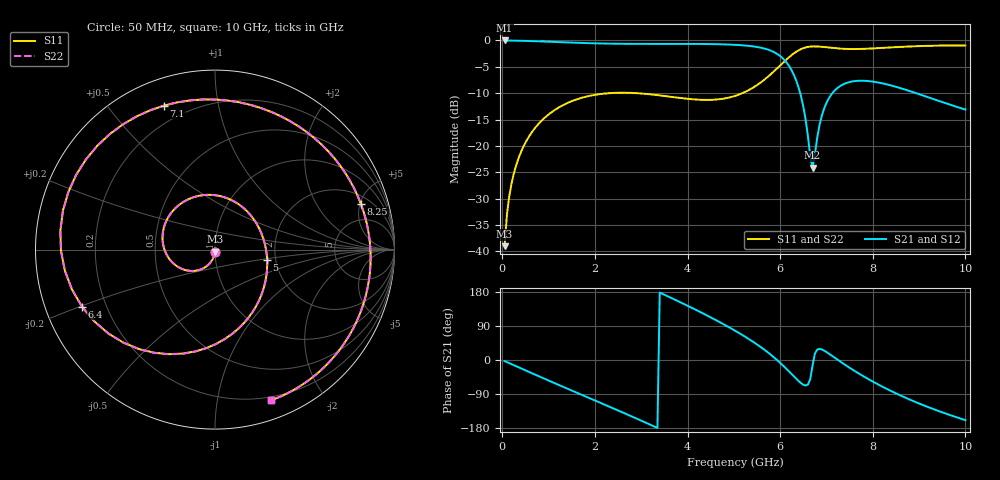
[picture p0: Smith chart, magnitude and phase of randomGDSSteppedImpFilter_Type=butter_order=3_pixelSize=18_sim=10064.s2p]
! freq	dB(S11)	phase(S11)	dB(S12)	phase(S12)
!  dB(S21)	phase(S21)	dB(S22)	phase(S22)
!S-par simulation data
#  GHz  S  DB  R 50
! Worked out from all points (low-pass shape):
!   200 points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, 50 MHz to 10 GHz, reference 50 ohm
!   highest |S21| = -0.01 dB at 50 MHz (marker M1); lowest = -24.1 dB at 6.7 GHz (marker M2)
!   |S21| within 3 dB of the highest: start of sweep to 6.006 GHz
!   lowest |S11| = -39.0 dB at 50 MHz (marker M3), VSWR 1.02, Z = 49.9 - j1.12 ohm
!   |S11| at or under -10 dB: start of sweep to 2.301 GHz; 2.907 GHz to 5.184 GHz (2.277 GHz wide, 56.3 % of centre)
!   |S22| runs from -39.0 to -0.9 dB; largest |S21 - S12| = 0
!   S11 on the Smith chart (normalised r, x): 50 MHz: 1.00, -0.02; 5 GHz: 1.80, -0.22; 6.4 GHz: 0.11, -0.20; 7.1 GHz: 0.12, +0.70; 8.25 GHz: 2.72, +5.08; 10 GHz: 0.17, -1.43
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0.05  -39.00 -92.2  -0.01 -2.8  -0.01 -2.8  -39.00 -92.2
0.2  -27.10 -101.1  -0.03 -11.0  -0.03 -11.0  -27.10 -101.1
0.5  -19.39 -117.8  -0.09 -27.3  -0.09 -27.3  -19.39 -117.8
1.15  -13.08 -152.8  -0.30 -62.2  -0.30 -62.2  -13.08 -152.9
1.75  -10.79 175.6  -0.49 -93.7  -0.49 -93.7  -10.79 175.6
2.65  -9.91 128.3  -0.65 -141.1  -0.65 -141.1  -9.91 128.3
3.4  -10.42 87.5  -0.66 177.9  -0.66 177.9  -10.42 87.5
4.35  -11.27 31.9  -0.67 122.0  -0.67 122.0  -11.27 31.9
5  -10.59 -10.9  -0.82 79.2  -0.82 79.2  -10.59 -10.8
5.05  -10.45 -14.5  -0.84 75.7  -0.84 75.7  -10.45 -14.4
5.4  -9.03 -41.4  -1.11 49.3  -1.11 49.3  -9.03 -41.3
5.8  -6.39 -78.5  -1.95 13.8  -1.95 13.8  -6.39 -78.4
6.15  -3.52 -120.5  -4.31 -25.1  -4.31 -25.1  -3.52 -120.4
6.4  -1.87 -156.8  -8.99 -55.8  -8.99 -55.8  -1.87 -156.7
6.7  -1.13 158.6  -24.13 -13.9  -24.13 -13.9  -1.13 158.7
6.9  -1.20 132.3  -14.26 27.8  -14.26 27.8  -1.21 132.3
7.1  -1.40 109.5  -10.31 12.8  -10.31 12.8  -1.40 109.5
7.7  -1.62 55.8  -7.65 -35.8  -7.65 -35.8  -1.62 55.7
8.25  -1.39 17.5  -8.22 -73.0  -8.22 -73.0  -1.39 17.4
8.35  -1.34 11.3  -8.44 -79.1  -8.44 -79.1  -1.34 11.2
9.05  -1.06 -27.3  -10.33 -117.3  -10.33 -117.3  -1.06 -27.4
10  -0.95 -69.5  -13.11 -158.7  -13.11 -158.7  -0.95 -69.6
